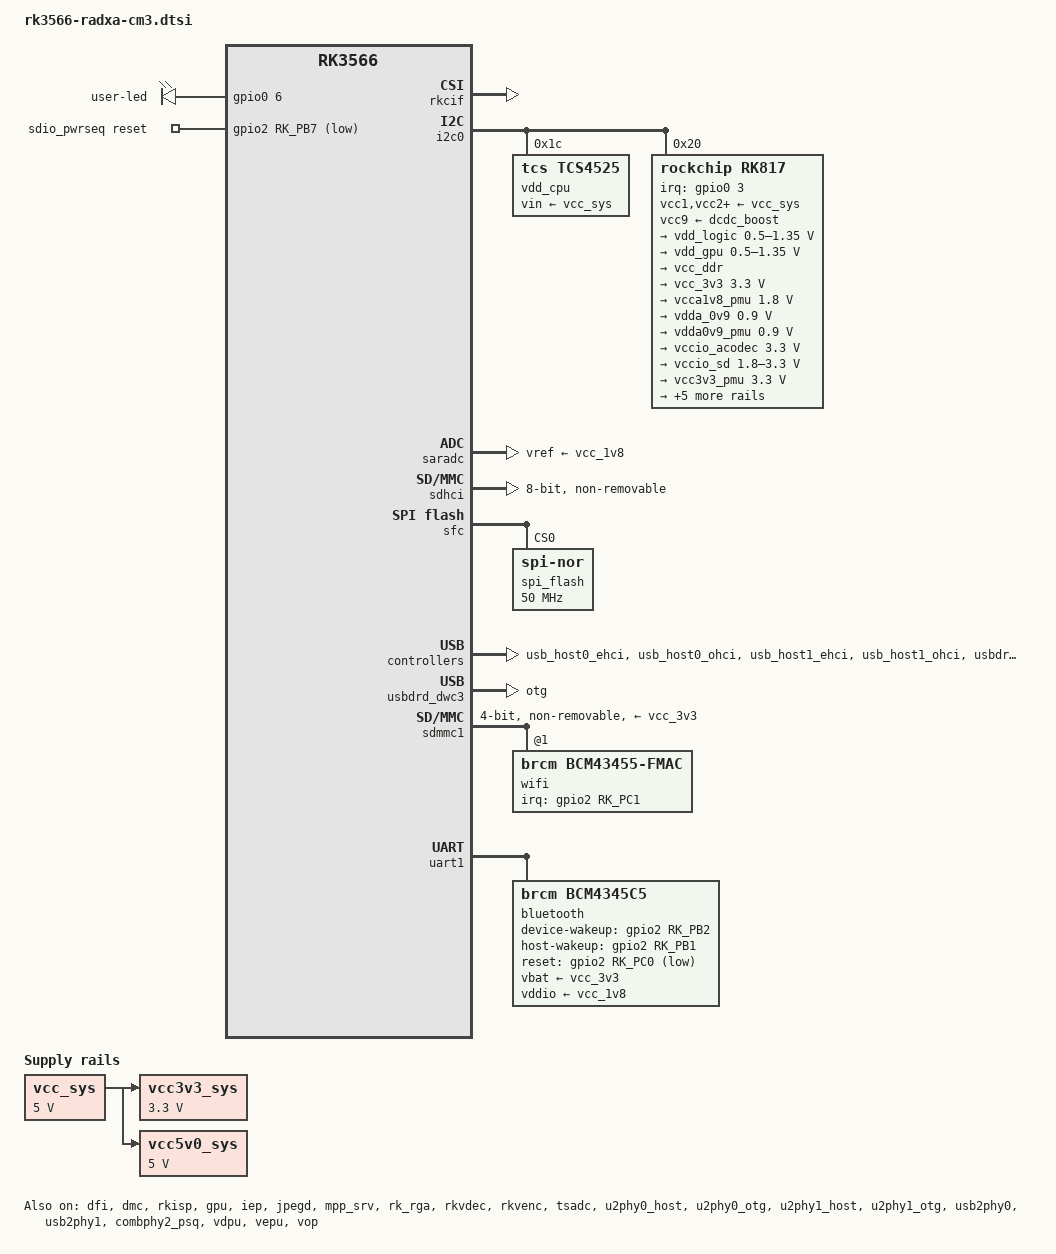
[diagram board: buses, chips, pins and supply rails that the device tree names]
// SPDX-License-Identifier: (GPL-2.0+ OR MIT)
/*
 * Copyright (c) 2020 Rockchip Electronics Co., Ltd.
 * Copyright (c) 2022 Radxa Limited.
 *
 */

/dts-v1/;

#include <dt-bindings/gpio/gpio.h>
#include <dt-bindings/pwm/pwm.h>
#include <dt-bindings/pinctrl/rockchip.h>
#include <dt-bindings/input/rk-input.h>
#include <dt-bindings/display/drm_mipi_dsi.h>
#include <dt-bindings/sensor-dev.h>
#include "rk3566.dtsi"
#include "rk3568-linux.dtsi"

/ {
	compatible = "radxa,cm3", "rockchip,rk3566";

	/delete-node/ chosen;

	aliases {
		mmc0 = &sdmmc0;
		mmc1 = &sdhci;
		mmc2 = &sdmmc1;
		mmc3 = &sdmmc2;
	};

	vcc_sys: vcc-sys {
		compatible = "regulator-fixed";
		regulator-name = "vcc_sys";
		regulator-always-on;
		regulator-boot-on;
		regulator-min-microvolt = <5000000>;
		regulator-max-microvolt = <5000000>;
	};

	vcc3v3_sys: vcc3v3-sys {
		compatible = "regulator-fixed";
		regulator-name = "vcc3v3_sys";
		regulator-always-on;
		regulator-boot-on;
		regulator-min-microvolt = <3300000>;
		regulator-max-microvolt = <3300000>;
		vin-supply = <&vcc_sys>;
	};

	vcc5v0_sys: vcc5v0-sys {
		compatible = "regulator-fixed";
		regulator-name = "vcc5v0_sys";
		regulator-always-on;
		regulator-boot-on;
		regulator-min-microvolt = <5000000>;
		regulator-max-microvolt = <5000000>;
		vin-supply = <&vcc_sys>;
	};

	gpio_leds: gpio-leds {
		compatible = "gpio-leds";
		status = "okay";

		user-led {
			gpios = <&gpio0 6 GPIO_ACTIVE_HIGH>;
			linux,default-trigger = "timer";
			default-state = "on";
			pinctrl-0 = <&user_led_set>;
		};
	};

	sdio_pwrseq: pwrseq-sdio {
		compatible = "mmc-pwrseq-simple";
		clocks = <&rk817 1>;
		clock-names = "ext_clock";
		pinctrl-names = "default";
		pinctrl-0 = <&wifi_reg_on_h>;
		reset-gpios = <&gpio2 RK_PB7 GPIO_ACTIVE_LOW>;
	};
};

&cpu0 {
	cpu-supply = <&vdd_cpu>;
};

&cpu1 {
	cpu-supply = <&vdd_cpu>;
};

&cpu2 {
	cpu-supply = <&vdd_cpu>;
};

&cpu3 {
	cpu-supply = <&vdd_cpu>;
};

&dfi {
	status = "okay";
};

&dmc {
	center-supply = <&vdd_logic>;
	status = "okay";
};

&rkcif {
	status = "okay";
};

&rkcif_mmu {
	status = "okay";
};

&rkisp {
	status = "okay";
};

&rkisp_mmu {
	status = "okay";
};

&gpu {
	mali-supply = <&vdd_gpu>;
	status = "okay";
};

&pmu_io_domains {
	status = "okay";
	pmuio2-supply = <&vcc_3v3>;
	vccio1-supply = <&vccio_acodec>;
	vccio2-supply = <&vcc_1v8>;
	vccio3-supply = <&vccio_sd>;
	vccio4-supply = <&vcc_1v8>;
	vccio5-supply = <&vcc_3v3>;
	vccio6-supply = <&vcc_3v3>;
	vccio7-supply = <&vcc_3v3>;
};

&i2c0 {
	status = "okay";

	vdd_cpu: regulator@1c {
		compatible = "tcs,tcs4525";
		reg = <0x1c>;
		fcs,suspend-voltage-selector = <1>;
		regulator-name = "vdd_cpu";
		regulator-always-on;
		regulator-boot-on;
		regulator-min-microvolt = <712500>;
		regulator-max-microvolt = <1390000>;
		regulator-ramp-delay = <2300>;
		vin-supply = <&vcc_sys>;

		regulator-state-mem {
			regulator-off-in-suspend;
		};
	};

	rk817: pmic@20 {
		compatible = "rockchip,rk817";
		reg = <0x20>;
		interrupt-parent = <&gpio0>;
		interrupts = <3 IRQ_TYPE_LEVEL_LOW>;

		pinctrl-names = "default", "pmic-sleep",
				"pmic-power-off", "pmic-reset";
		pinctrl-0 = <&pmic_int>;
		pinctrl-1 = <&soc_slppin_slp>, <&rk817_slppin_slp>;
		pinctrl-2 = <&soc_slppin_gpio>, <&rk817_slppin_pwrdn>;
		pinctrl-3 = <&soc_slppin_gpio>, <&rk817_slppin_null>;
		rockchip,system-power-controller;
		wakeup-source;
		#clock-cells = <1>;
		clock-output-names = "rk808-clkout1", "rk808-clkout2";
		//fb-inner-reg-idxs = <2>;
		/* 1: rst regs (default in codes), 0: rst the pmic */
		pmic-reset-func = <0>;
		/* not save the PMIC_POWER_EN register in uboot */
		not-save-power-en = <1>;

		vcc1-supply = <&vcc_sys>;
		vcc2-supply = <&vcc_sys>;
		vcc3-supply = <&vcc_sys>;
		vcc4-supply = <&vcc_sys>;
		vcc5-supply = <&vcc_sys>;
		vcc6-supply = <&vcc_sys>;
		vcc7-supply = <&vcc_sys>;
		vcc8-supply = <&vcc_sys>;
		vcc9-supply = <&dcdc_boost>;

		pwrkey {
			status = "okay";
		};

		pinctrl_rk8xx: pinctrl_rk8xx {
			gpio-controller;
			#gpio-cells = <2>;

			rk817_slppin_null: rk817_slppin_null {
				pins = "gpio_slp";
				function = "pin_fun0";
			};

			rk817_slppin_slp: rk817_slppin_slp {
				pins = "gpio_slp";
				function = "pin_fun1";
			};

			rk817_slppin_pwrdn: rk817_slppin_pwrdn {
				pins = "gpio_slp";
				function = "pin_fun2";
			};

			rk817_slppin_rst: rk817_slppin_rst {
				pins = "gpio_slp";
				function = "pin_fun3";
			};
		};

		regulators {
			vdd_logic: DCDC_REG1 {
				regulator-always-on;
				regulator-boot-on;
				regulator-min-microvolt = <500000>;
				regulator-max-microvolt = <1350000>;
				regulator-init-microvolt = <900000>;
				regulator-ramp-delay = <6001>;
				regulator-initial-mode = <0x2>;
				regulator-name = "vdd_logic";
				regulator-state-mem {
					regulator-off-in-suspend;
					regulator-suspend-microvolt = <900000>;
				};
			};

			vdd_gpu: DCDC_REG2 {
				regulator-always-on;
				regulator-boot-on;
				regulator-min-microvolt = <500000>;
				regulator-max-microvolt = <1350000>;
				regulator-init-microvolt = <900000>;
				regulator-ramp-delay = <6001>;
				regulator-initial-mode = <0x2>;
				regulator-name = "vdd_gpu";
				regulator-state-mem {
					regulator-off-in-suspend;
				};
			};

			vcc_ddr: DCDC_REG3 {
				regulator-always-on;
				regulator-boot-on;
				regulator-initial-mode = <0x2>;
				regulator-name = "vcc_ddr";
				regulator-state-mem {
					regulator-on-in-suspend;
				};
			};

			vcc_3v3: DCDC_REG4 {
				regulator-always-on;
				regulator-boot-on;
				regulator-min-microvolt = <3300000>;
				regulator-max-microvolt = <3300000>;
				regulator-initial-mode = <0x2>;
				regulator-name = "vcc_3v3";
				regulator-state-mem {
					regulator-on-in-suspend;
					regulator-suspend-microvolt = <3300000>;
				};
			};

			vcca1v8_pmu: LDO_REG1 {
				regulator-always-on;
				regulator-boot-on;
				regulator-min-microvolt = <1800000>;
				regulator-max-microvolt = <1800000>;
				regulator-name = "vcca1v8_pmu";
				regulator-state-mem {
					regulator-on-in-suspend;
					regulator-suspend-microvolt = <1800000>;
				};
			};

			vdda_0v9: LDO_REG2 {
				regulator-always-on;
				regulator-boot-on;
				regulator-min-microvolt = <900000>;
				regulator-max-microvolt = <900000>;
				regulator-name = "vdda_0v9";
				regulator-state-mem {
					regulator-off-in-suspend;
				};
			};

			vdda0v9_pmu: LDO_REG3 {
				regulator-always-on;
				regulator-boot-on;
				regulator-min-microvolt = <900000>;
				regulator-max-microvolt = <900000>;
				regulator-name = "vdda0v9_pmu";
				regulator-state-mem {
					regulator-on-in-suspend;
					regulator-suspend-microvolt = <900000>;
				};
			};

			vccio_acodec: LDO_REG4 {
				regulator-always-on;
				regulator-boot-on;
				regulator-min-microvolt = <3300000>;
				regulator-max-microvolt = <3300000>;
				regulator-name = "vccio_acodec";
				regulator-state-mem {
					regulator-off-in-suspend;
				};
			};

			vccio_sd: LDO_REG5 {
				regulator-always-on;
				regulator-boot-on;
				regulator-min-microvolt = <1800000>;
				regulator-max-microvolt = <3300000>;
				regulator-name = "vccio_sd";
				regulator-state-mem {
					regulator-off-in-suspend;
				};
			};

			vcc3v3_pmu: LDO_REG6 {
				regulator-always-on;
				regulator-boot-on;
				regulator-min-microvolt = <3300000>;
				regulator-max-microvolt = <3300000>;
				regulator-name = "vcc3v3_pmu";
				regulator-state-mem {
					regulator-on-in-suspend;
					regulator-suspend-microvolt = <3000000>;
				};
			};

			vcc_1v8: LDO_REG7 {
				regulator-always-on;
				regulator-boot-on;
				regulator-min-microvolt = <1800000>;
				regulator-max-microvolt = <1800000>;
				regulator-name = "vcc_1v8";
				regulator-state-mem {
					regulator-off-in-suspend;
				};
			};

			vcc1v8_dvp: LDO_REG8 {
				regulator-always-on;
				regulator-boot-on;
				regulator-min-microvolt = <1800000>;
				regulator-max-microvolt = <1800000>;
				regulator-name = "vcc1v8_dvp";
				regulator-state-mem {
					regulator-off-in-suspend;
				};
			};

			vcc2v8_dvp: LDO_REG9 {
				regulator-always-on;
				regulator-boot-on;
				regulator-min-microvolt = <2800000>;
				regulator-max-microvolt = <2800000>;
				regulator-name = "vcc2v8_dvp";
				regulator-state-mem {
					regulator-off-in-suspend;
				};
			};

			dcdc_boost: BOOST {
				regulator-always-on;
				regulator-boot-on;
				regulator-min-microvolt = <5000000>;
				regulator-max-microvolt = <5000000>;
				regulator-name = "boost";
				regulator-state-mem {
					regulator-off-in-suspend;
				};
			};

			otg_switch: OTG_SWITCH {
				regulator-name = "otg_switch";
				regulator-state-mem {
					regulator-off-in-suspend;
				};
			};
		};

		battery {
			compatible = "rk817,battery";
			ocv_table = <3400 3513 3578 3687 3734 3752 3763
					3766 3771 3784 3804 3836 3885 3925
					3962 4005 4063 4114 4169 4227 4303>;
			design_capacity = <1200>;        // 更新为 1200mAh
			design_qmax = <1320>;            // Qmax 也相应调整为 1320
			bat_res = <100>;
			sleep_enter_current = <150>;
			sleep_exit_current = <180>;
			sleep_filter_current = <100>;
			power_off_thresd = <3350>;
			zero_algorithm_vol = <3850>;
			max_soc_offset = <60>;
			monitor_sec = <5>;
			sample_res = <10>;
			virtual_power = <0>;
		};

		charger {
			compatible = "rk817,charger";
			min_input_voltage = <4500>;
			max_input_current = <500>;       // 根据电池容量调整充电电流
			max_chrg_current = <1000>;       // 最大充电电流调整为 1000mA
			max_chrg_voltage = <4300>;
			chrg_term_mode = <0>;
			chrg_finish_cur = <100>;         // 调整终止充电电流为 100mA
			virtual_power = <0>;
			dc_det_adc = <0>;
			extcon = <&usb2phy0>;
		};

		rk817_codec: codec {
			#sound-dai-cells = <0>;
			compatible = "rockchip,rk817-codec";
			clocks = <&cru I2S1_MCLKOUT>;
			clock-names = "mclk";
			assigned-clocks = <&cru I2S1_MCLKOUT>, <&cru I2S1_MCLK_TX_IOE>;
			assigned-clock-rates = <12288000>;
			assigned-clock-parents = <&cru I2S1_MCLKOUT_TX>, <&cru I2S1_MCLKOUT_TX>;
			pinctrl-names = "default";
			pinctrl-0 = <&i2s1m0_mclk>;
			hp-volume = <20>;
			spk-volume = <3>;
			mic-in-differential;
			status = "okay";
		};
	};
};

&iep {
	status = "okay";
};

&iep_mmu {
	status = "okay";
};

&jpegd {
	status = "okay";
};

&jpegd_mmu {
	status = "okay";
};

&mpp_srv {
	status = "okay";
};

&rk_rga {
	status = "okay";
};

&rkvdec {
	status = "okay";
};

&rkvdec_mmu {
	status = "okay";
};

&rkvenc {
	venc-supply = <&vdd_logic>;
	status = "okay";
};

&rkvenc_mmu {
	status = "okay";
};

// &bus_npu {
// 	bus-supply = <&vdd_logic>;
// 	pvtm-supply = <&vdd_cpu>;
// 	status = "okay";
// };

// &rknpu {
// 	memory-region = <&rknpu_reserved>;
// 	rknpu-supply = <&vdd_gpu>;
// 	status = "okay";
// };

// &rknpu_mmu {
// 	status = "okay";
// };

// &reserved_memory {

// 	rknpu_reserved: rknpu {
// 		compatible = "shared-dma-pool";
// 		inactive;
// 		reusable;
// 		size = <0x0 0x20000000>;
// 		alignment = <0x0 0x1000>;
// 	};
// };

&saradc {
	status = "okay";
	vref-supply = <&vcc_1v8>;
};

&sdhci {
	bus-width = <8>;
	supports-emmc;
	non-removable;
	max-frequency = <200000000>;
	status = "okay";
};

&sfc {
	status = "okay";
	max-freq = <50000000>;
	#address-cells = <1>;
	#size-cells = <0>;
	pinctrl-names = "default";
	pinctrl-0 = <&fspi_pins>;

	spi_flash: spi-flash@0 {
		#address-cells = <1>;
		#size-cells = <0>;
		compatible = "jedec,spi-nor";
		reg = <0x0>;
		spi-max-frequency = <50000000>;
		spi-tx-bus-width = <1>;
		spi-rx-bus-width = <4>;
		status = "okay";
	};
};

&rockchip_suspend {
	status = "okay";
	rockchip,sleep-debug-en = <1>;
	rockchip,sleep-mode-config = <
		(0
		| RKPM_SLP_CENTER_OFF
		| RKPM_SLP_HW_PLLS_OFF
		| RKPM_SLP_PMUALIVE_32K
		| RKPM_SLP_32K_PVTM
		)
	>;
	rockchip,wakeup-config = <
		(0
		| RKPM_GPIO_WKUP_EN
		| RKPM_USB_WKUP_EN
		)
	>;
};

&tsadc {
	status = "okay";
};

&u2phy0_host {
	status = "okay";
};

&u2phy0_otg {
	status = "okay";
};

&u2phy1_host {
	status = "okay";
};

&u2phy1_otg {
	status = "okay";
};

&usb2phy0 {
	status = "okay";
};

&usb2phy1 {
	status = "okay";
};

&usb_host0_ehci {
	status = "okay";
};

&usb_host0_ohci {
	status = "okay";
};

&usb_host1_ehci {
	status = "okay";
};

&usb_host1_ohci {
	status = "okay";
};

&usbdrd_dwc3 {
	dr_mode = "otg";
	extcon = <&usb2phy0>;
	status = "okay";
};

&usbdrd30 {
	status = "okay";
};

&usbhost_dwc3 {
	status = "disabled";
};

&usbhost30 {
	status = "disabled";
};

&combphy1_usq {
	status = "disabled";
};

&combphy2_psq {
	status = "okay";
};

&pcie2x1 {
	status = "disabled";
};

&vdpu {
	status = "okay";
};

&vdpu_mmu {
	status = "okay";
};

&vepu {
	status = "okay";
};

&vepu_mmu {
	status = "okay";
};

&vop {
	status = "okay";
	assigned-clocks = <&cru DCLK_VOP0>, <&cru DCLK_VOP1>;
	assigned-clock-parents = <&pmucru PLL_HPLL>, <&cru PLL_VPLL>;
	vop-supply = <&vdd_logic>;
};

&vop_mmu {
	status = "okay";
};

&sdmmc1 {
	#address-cells = <1>;
	#size-cells = <0>;
	bus-width = <4>;
	disable-wp;
	cap-sd-highspeed;
	cap-sdio-irq;
	keep-power-in-suspend;
	mmc-pwrseq = <&sdio_pwrseq>;
	non-removable;
	pinctrl-names = "default";
	pinctrl-0 = <&sdmmc1_bus4 &sdmmc1_clk &sdmmc1_cmd>;
	sd-uhs-sdr104;
	vmmc-supply = <&vcc_3v3>;
	vqmmc-supply = <&vcc_1v8>;
	status = "okay";

	wifi@1 {
		compatible = "brcm,bcm43455-fmac";
		reg = <1>;
		interrupt-parent = <&gpio2>;
		interrupts = <RK_PC1 IRQ_TYPE_LEVEL_HIGH>;
		interrupt-names = "host-wake";
		pinctrl-names = "default";
		pinctrl-0 = <&wifi_host_wake_h>;
	};
};


&uart1 {
	pinctrl-names = "default";
	pinctrl-0 = <&uart1m0_ctsn &uart1m0_rtsn &uart1m0_xfer>;
	status = "okay";

	bluetooth {
		compatible = "brcm,bcm4345c5";
		clocks = <&rk817 1>;
		clock-names = "lpo";
		device-wakeup-gpios = <&gpio2 RK_PB2 GPIO_ACTIVE_HIGH>;
		host-wakeup-gpios = <&gpio2 RK_PB1 GPIO_ACTIVE_HIGH>;
		reset-gpios = <&gpio2 RK_PC0 GPIO_ACTIVE_LOW>;
		pinctrl-names = "default";
		pinctrl-0 = <&bt_host_wake_h &bt_reg_on_h &bt_wake_host_h>;
		vbat-supply = <&vcc_3v3>;
		vddio-supply = <&vcc_1v8>;
	};
};

&pinctrl {	
	bluetooth {
		bt_host_wake_h: bt-host-wake-h {
			rockchip,pins = <2 RK_PB2 RK_FUNC_GPIO &pcfg_pull_none>;
		};

		bt_reg_on_h: bt-reg-on-h {
			rockchip,pins = <2 RK_PC0 RK_FUNC_GPIO &pcfg_pull_none>;
		};

		bt_wake_host_h: bt-wake-host-h {
			rockchip,pins = <2 RK_PB1 RK_FUNC_GPIO &pcfg_pull_none>;
		};
	};

	pmic {
		pmic_int: pmic_int {
			rockchip,pins =
				<0 RK_PA3 RK_FUNC_GPIO &pcfg_pull_up>;
		};

		soc_slppin_gpio: soc_slppin_gpio {
			rockchip,pins =
				<0 RK_PA2 RK_FUNC_GPIO &pcfg_output_low_pull_down>;
		};

		soc_slppin_slp: soc_slppin_slp {
			rockchip,pins =
				<0 RK_PA2 1 &pcfg_pull_up>;
		};

		soc_slppin_rst: soc_slppin_rst {
			rockchip,pins =
				<0 RK_PA2 2 &pcfg_pull_none>;
		};
	};

	leds {
		user_led_set: user-led {
			rockchip,pins = <0 RK_PA6 RK_FUNC_GPIO &pcfg_pull_none>;
		};
	};

	wifi {
		wifi_reg_on_h: wifi-reg-on-h {
			rockchip,pins = <2 RK_PB7 RK_FUNC_GPIO &pcfg_pull_none>;
		};

		wifi_host_wake_h: wifi-host-wake-h {
			rockchip,pins = <2 RK_PC1 RK_FUNC_GPIO &pcfg_pull_none>;
		};
	};
};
